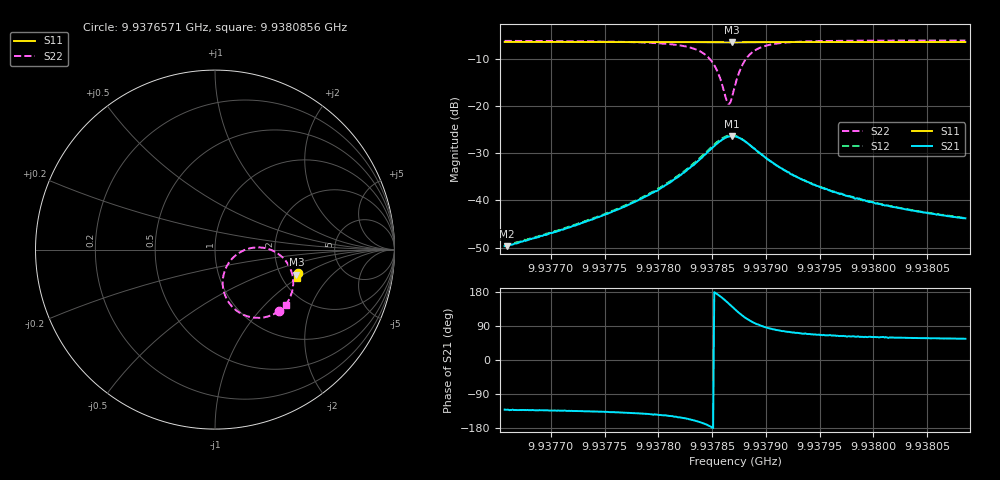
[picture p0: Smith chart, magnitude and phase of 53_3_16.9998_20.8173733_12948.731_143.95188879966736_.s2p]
#  HZ  S  RI  R  50.00
! Rohde & Schwarz Vector Network Analyzer
! Rohde-Schwarz,ZNB20-2Port,1311601062101988,3.16
! Created: UTC 3/20/2024, 10:54:24 PM
! freq[Hz]  re:S11  im:S11  re:S21  im:S21  re:S12  im:S12  re:S22  im:S22
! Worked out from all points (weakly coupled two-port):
!   401 points, 9.9376571 GHz to 9.9380856 GHz, reference 50 ohm
!   highest |S21| = -26.34 dB at 9.9378681 GHz (marker M1); lowest = -49.7 dB at 9.9376592 GHz (marker M2)
!   lowest |S11| = -6.5 dB at 9.9378681 GHz (marker M3), VSWR 2.81, Z = 122 - j44.2 ohm
!   |S11| at or under -10 dB: nowhere
!   |S22| runs from -19.5 to -6.0 dB; largest |S21 - S12| = 0.0031
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9.93765705e9  0.464 -0.1294  -0.00215 -0.00248  -0.00224 -0.00248  0.3579 -0.3406
9.93765919e9  0.4641 -0.1296  -0.00216 -0.00246  -0.00227 -0.00248  0.3576 -0.3408
9.93772884e9  0.4622 -0.1345  -0.00407 -0.00409  -0.00421 -0.00409  0.3367 -0.3545
9.93776848e9  0.461 -0.1371  -0.00646 -0.00563  -0.00671 -0.00567  0.3128 -0.3661
9.93780062e9  0.4597 -0.1397  -0.0108 -0.00747  -0.0112 -0.0076  0.2737 -0.3774
9.93782741e9  0.4582 -0.1418  -0.0194 -0.00905  -0.0201 -0.00862  0.2002 -0.3767
9.93784348e9  0.4563 -0.1426  -0.0301 -0.00591  -0.0314 -0.00507  0.1138 -0.335
9.93784884e9  0.4556 -0.1428  -0.035 -0.00238  -0.0363 -0.00115  0.0792 -0.2979
9.93785419e9  0.4549 -0.1426  -0.0395 0.00346  -0.0409 0.00547  0.0511 -0.2402
9.93785741e9  0.4545 -0.1423  -0.0416 0.00854  -0.0429 0.0108  0.0431 -0.1947
9.93786384e9  0.454 -0.1413  -0.0421 0.0212  -0.042 0.0241  0.0663 -0.091
9.93786598e9  0.454 -0.1406  -0.0405 0.0257  -0.0398 0.0285  0.088 -0.059
9.93786812e9  0.4541 -0.1403  -0.0379 0.0298  -0.0369 0.0327  0.1159 -0.0314
9.93787134e9  0.4545 -0.1399  -0.0331 0.0347  -0.0313 0.0371  0.1655 -0.00195
9.93787562e9  0.4553 -0.1396  -0.025 0.0386  -0.0229 0.0402  0.2357 0.0123
9.93787991e9  0.4559 -0.1395  -0.0171 0.0395  -0.0151 0.0404  0.2977 0.00351
9.93789062e9  0.4576 -0.1405  -0.00363 0.0343  -0.00219 0.0345  0.3919 -0.0603
9.93791312e9  0.4583 -0.1433  0.00483 0.0218  0.00542 0.0217  0.4354 -0.1708
9.93794312e9  0.4577 -0.1461  0.00566 0.0139  0.00599 0.0138  0.4291 -0.2358
9.93797848e9  0.457 -0.1489  0.00516 0.0098  0.0052 0.00964  0.4167 -0.2693
9.93801491e9  0.4559 -0.1514  0.00443 0.00749  0.00462 0.00746  0.4068 -0.2875
9.93808562e9  0.4542 -0.1563  0.00362 0.00537  0.00374 0.00535  0.3938 -0.3067
